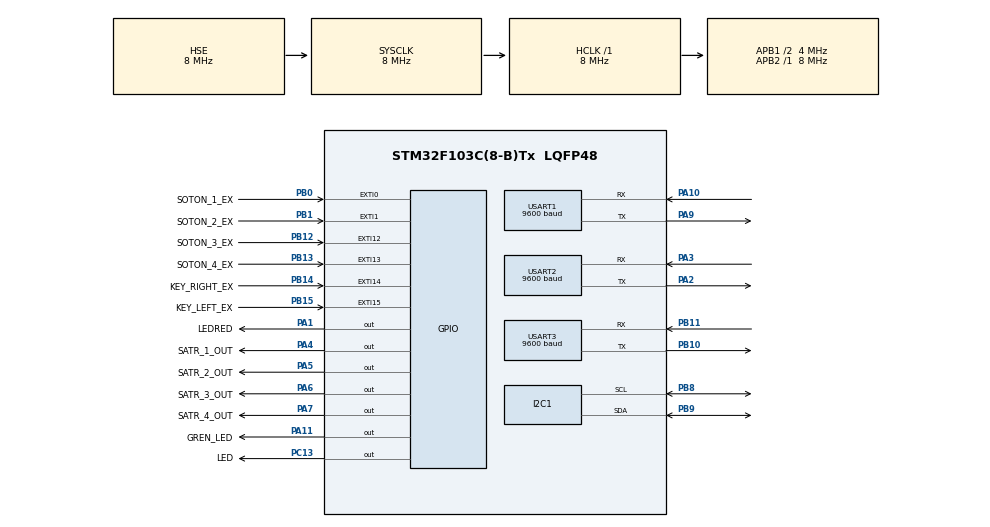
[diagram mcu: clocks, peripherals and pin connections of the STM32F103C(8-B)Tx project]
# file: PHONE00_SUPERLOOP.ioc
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Mcu.Family=STM32F1
Mcu.Name=STM32F103C(8-B)Tx
Mcu.Package=LQFP48
NVIC.EXTI0_IRQn=true\:1\:0\:true\:false\:true\:true\:true\:true
NVIC.EXTI15_10_IRQn=true\:1\:0\:true\:false\:true\:true\:true\:true
NVIC.EXTI1_IRQn=true\:1\:0\:true\:false\:true\:true\:true\:true
NVIC.PriorityGroup=NVIC_PRIORITYGROUP_4
NVIC.TIM1_UP_IRQn=true\:2\:0\:true\:false\:true\:true\:true\:true
NVIC.TIM2_IRQn=true\:2\:0\:true\:false\:true\:true\:true\:true
NVIC.TIM3_IRQn=true\:2\:0\:true\:false\:true\:true\:true\:true
NVIC.TIM4_IRQn=true\:2\:0\:true\:false\:true\:true\:true\:true
NVIC.USART1_IRQn=true\:0\:0\:false\:false\:true\:true\:true\:true
PA1.GPIO_Label=LEDRED
PA1.Signal=GPIO_Output
PA10.Mode=Asynchronous
PA10.Signal=USART1_RX
PA11.GPIO_Label=GREN_LED
PA11.GPIO_PuPd=GPIO_PULLUP
PA11.Signal=GPIO_Output
PA13.Mode=Serial_Wire
PA13.Signal=SYS_JTMS-SWDIO
PA14.Mode=Serial_Wire
PA14.Signal=SYS_JTCK-SWCLK
PA2.Mode=Asynchronous
PA2.Signal=USART2_TX
PA3.Mode=Asynchronous
PA3.Signal=USART2_RX
PA4.GPIO_Label=SATR_1_OUT
PA4.Signal=GPIO_Output
PA5.GPIO_Label=SATR_2_OUT
PA5.Signal=GPIO_Output
PA6.GPIO_Label=SATR_3_OUT
PA6.Signal=GPIO_Output
PA7.GPIO_Label=SATR_4_OUT
PA7.Signal=GPIO_Output
PA9.Mode=Asynchronous
PA9.Signal=USART1_TX
PB0.GPIO_Label=SOTON_1_EX
PB0.GPIO_ModeDefaultEXTI=GPIO_MODE_IT_RISING_FALLING
PB0.GPIO_PuPd=GPIO_PULLDOWN
PB0.Signal=GPXTI0
PB1.GPIO_Label=SOTON_2_EX
PB1.GPIO_ModeDefaultEXTI=GPIO_MODE_IT_RISING_FALLING
PB1.GPIO_PuPd=GPIO_PULLDOWN
PB1.Signal=GPXTI1
PB10.Mode=Asynchronous
PB10.Signal=USART3_TX
PB11.Mode=Asynchronous
PB11.Signal=USART3_RX
PB12.GPIO_Label=SOTON_3_EX
PB12.GPIO_ModeDefaultEXTI=GPIO_MODE_IT_RISING_FALLING
PB12.GPIO_PuPd=GPIO_PULLDOWN
PB12.Signal=GPXTI12
PB13.GPIO_Label=SOTON_4_EX
PB13.GPIO_ModeDefaultEXTI=GPIO_MODE_IT_RISING_FALLING
PB13.GPIO_PuPd=GPIO_PULLDOWN
PB13.Signal=GPXTI13
PB14.GPIO_Label=KEY_RIGHT_EX
PB14.GPIO_ModeDefaultEXTI=GPIO_MODE_IT_RISING
PB14.GPIO_PuPd=GPIO_PULLUP
PB14.Signal=GPXTI14
PB15.GPIO_Label=KEY_LEFT_EX
PB15.GPIO_ModeDefaultEXTI=GPIO_MODE_IT_RISING
PB15.GPIO_PuPd=GPIO_PULLUP
PB15.Signal=GPXTI15
PB8.Mode=I2C
PB8.Signal=I2C1_SCL
PB9.Mode=I2C
PB9.Signal=I2C1_SDA
PC13-TAMPER-RTC.GPIO_Label=LED
PC13-TAMPER-RTC.Signal=GPIO_Output
PC14-OSC32_IN.Mode=LSE-External-Oscillator
PC14-OSC32_IN.Signal=RCC_OSC32_IN
PC15-OSC32_OUT.Mode=LSE-External-Oscillator
PC15-OSC32_OUT.Signal=RCC_OSC32_OUT
PD0-OSC_IN.Mode=HSE-External-Oscillator
PD0-OSC_IN.Signal=RCC_OSC_IN
PD1-OSC_OUT.Mode=HSE-External-Oscillator
PD1-OSC_OUT.Signal=RCC_OSC_OUT
ProjectManager.HeapSize=0x200
ProjectManager.StackSize=0x400
ProjectManager.TargetToolchain=MDK-ARM V5
RCC.AHBFreq_Value=8000000
RCC.APB1CLKDivider=RCC_HCLK_DIV2
RCC.APB1Freq_Value=4000000
RCC.APB1TimFreq_Value=8000000
RCC.APB2Freq_Value=8000000
RCC.APB2TimFreq_Value=8000000
RCC.HCLKFreq_Value=8000000
RCC.PLLMUL=RCC_PLL_MUL6
RCC.RTCClockSelection=RCC_RTCCLKSOURCE_LSE
RCC.SYSCLKFreq_VALUE=8000000
RCC.SYSCLKSource=RCC_SYSCLKSOURCE_HSE
RCC.USBFreq_Value=24000000
TIM1.Period=499
TIM1.Prescaler=7999
TIM2.Period=19
TIM2.Prescaler=7999
TIM3.Period=10
TIM3.Prescaler=7999
TIM4.Period=500
TIM4.Prescaler=7999
USART1.BaudRate=9600
USART1.VirtualMode=VM_ASYNC
USART2.BaudRate=9600
USART2.VirtualMode=VM_ASYNC
USART3.BaudRate=9600
USART3.VirtualMode=VM_ASYNC
VP_TIM1_VS_ClockSourceINT.Mode=Internal
VP_TIM2_VS_ClockSourceINT.Mode=Internal
VP_TIM3_VS_ClockSourceINT.Mode=Internal
VP_TIM4_VS_ClockSourceINT.Mode=Internal
board=custom

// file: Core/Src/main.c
/* USER CODE BEGIN Header */
/**
  ******************************************************************************
  * @file           : main.c
  * @brief          : Main program body
  ******************************************************************************
  * @attention
  *
  * Copyright (c) 2023 STMicroelectronics.
  * All rights reserved.
  *
  * This software is licensed under terms that can be found in the LICENSE file
  * in the root directory of this software component.
  * If no LICENSE file comes with this software, it is provided AS-IS.
  *
  ******************************************************************************
  */
/* USER CODE END Header */
#include "main.h"
#include "i2c.h"
#include "tim.h"
#include "usart.h"
#include "gpio.h"

/* USER CODE BEGIN Includes */
#include "stdbool.h"
#include "string.h"
#include "stdlib.h"
#include "ssd1306.h"
#include "stdio.h"
#include "clk.h"
#include "painter.h"
#include "keypad_satr.h"
#include "snake.h"
#include "timer.h"
#include "calender.h"
#include "call.h"
/* USER CODE END Includes */

/* USER CODE BEGIN PD */
#define max_tol_mar 111
#define x_avali 0
#define y_avali 8
#define tedad_avali 1
#define n 0

#define LEDRED_OFF HAL_GPIO_WritePin(GPIOA,LEDRED_Pin,GPIO_PIN_RESET);
#define LEDRED_ON HAL_GPIO_WritePin(GPIOA,LEDRED_Pin,GPIO_PIN_SET);

#define PREVIEW_L 0
#define MENU_L 1
#define SNAKE_L 2
#define MENU_TIM_L 3
#define TIME_L 4
#define MENU_CALENDER_L 5
#define CALENDER_L 6
#define MENU_CALL_L 7
#define CALL_L 8
#define RING 9
#define SMS_L 10
#define F_SMS_L 11
#define NOTE_SMS_L 12
#define MY_RING_L 13
#define R_SMS_L 14
/* USER CODE END PD */

/* USER CODE BEGIN PV */
struct sms_r{
	uint8_t mohtava_counter;
	char number[11];
	char tarikh[8];
	char mohtava[10];
	char time[5];
};struct sms_r RING_SMS={0};
struct sm{
	uint8_t i;
	char elhaq[21];
	char sarehambandi[13];
	char CBUFF;
	uint8_t arr[10];
	char BUFF [11];
};struct sm SMSS={0,"AT+CMGS=","\""};
struct Urt{
	uint8_t counter;
	uint8_t cntlz;
	uint8_t enter;
	char CHAR_BUFF;
	char BUFF[200];
};struct Urt UART={0,0x1a,0x0d};
struct cal{
	uint8_t i;
	char elhaq[15];
	char sarehambandi;
	char CBUFF;
	int arr[10];
	char BUFF [10];
	};struct cal CAL={0,"ATD",';'};
struct date{
	uint8_t mounth;
	uint8_t day;
	int year;
	uint8_t weekday;
};struct date DATE = {12,30,2000,1};

struct keypad{
	uint8_t Satr_Peyma;
	uint8_t adad;
	bool SOTON_1_ON;
	bool SOTON_2_ON;
	bool SOTON_3_ON;
	bool SOTON_4_ON;
	bool CHANGE_SATR_ALLOW;
	uint8_t negahdari_shomar;
	char namayesh;
	uint8_t set_x;
	uint8_t set_y;
	int counter[10];
	char negahdari[60];
};struct keypad key_pad = {1,0,false,false,false,false,true,0,NULL,0,20};

struct flag {
	bool nimsec;
	bool nimsec2;
	bool shishnimsec;
	bool ring;
	bool keypad_tim;
	bool m;
	bool sabt;
	bool allow_namayesh;
	bool test_bar1;
};struct flag flg = {false,false,false,false,false,false,false,false,true};

struct CURRENT_TIM {
	uint16_t SECEND;
	uint16_t MIN;
	uint16_t HOUR;
};struct CURRENT_TIM CURRENT_TIME = {50,59,23};

struct ED_TIM {
	uint8_t HOUR1;
	uint8_t HOUR2;
	uint8_t MIN1;
	uint8_t MIN2;
	uint8_t SEC1;
	uint8_t SEC2;
	uint8_t RESULTHOUR;
	uint8_t RESULTMIN;
	uint8_t RESULTSEC;
	uint8_t M;
	uint8_t ALOOWCHANGE;
	bool ALARMMODE;
};struct ED_TIM EDIT_TIME ={0,0,0,0,0,0,0,0,0,false} ;
struct ALAR {
	uint8_t ALARMHOUR;
	uint8_t ALARMMIN;
	uint8_t ALARMSEC;
};struct ALAR ALARM = {26,0,0};
// SNAKE //
int tedad=n;
uint8_t eep_cntr=10;
char score=0;
char buf ;
struct randomm{
	uint8_t x;
	uint8_t y;
}random;

struct flag2 {
	int state;
	int step;
	uint8_t rec_snake_app;
	int dly;
	uint8_t jahat;
	uint8_t gameover;
};struct flag2 flg2 ={0,0,0,1000,0,0}; //ESM FLG AVAZ SHOD
struct makanm {
	int x;
	int y;
}makan[max_tol_mar];

struct jayeize{
	int x;
	int y;
};struct jayeize makan_qarch_jadid = {0,8};
struct jayeize_fli{
	int x;
	int y;
};struct jayeize makan_qarch_feli = {0,0};
/* USER CODE END PV */

void SystemClock_Config(void);
/* USER CODE BEGIN PFP */
void PREVIEW (void);
void MENU (void);
void SNAKE (void);
void MENU1 (void);
void TIME (void);
void MENU2 (void);
void CALENDER (void);
void MENU3(void);
void CALL (void);
void FRING (void);
void IRING (void);
void menu4 (void);
void sms_ersal(char *bufer);
void sms (void);
void note_sms(void);
void my_ring(void);
void r_sms(void);
/* USER CODE END PFP */

/* USER CODE BEGIN 0 */
uint16_t leyer = 0;
int timer_shomar = 0;
///////////////////////////
//////// INTRUPT /////////
//////////////////////////
void HAL_TIM_PeriodElapsedCallback(TIM_HandleTypeDef *htim){
	if(htim->Instance == TIM2){
		makan_qarch_jadid.y+=8;
		if(makan_qarch_jadid.y>=53){
			makan_qarch_jadid.y = 0;
		}
	}

	if(htim->Instance == TIM1){
		flg.nimsec = true;
		flg.nimsec2 = true;
		flg.keypad_tim = true;
		if(timer_shomar == 1){
			timer_shomar = 0;
		}
		else if(timer_shomar == 0){
			timer_shomar = 1;
			if(CURRENT_TIME.SECEND == 59){
			CURRENT_TIME.SECEND = 0;
			CURRENT_TIME.MIN ++;
		}else{
			CURRENT_TIME.SECEND++;
		}
		if(CURRENT_TIME.MIN == 60){
			CURRENT_TIME.MIN = 0;
			CURRENT_TIME.HOUR ++;
		}
		if(CURRENT_TIME.HOUR == 24){
			CURRENT_TIME.HOUR = 0;
			DATE.day++;
		}
		if(DATE.day == 31){
			DATE.day = 1;
			DATE.mounth++;
			DATE.weekday++;
		}
		if(DATE.mounth ==13){
			DATE.mounth=1;
			DATE.year++;
		}
		}
	}
	if(htim->Instance == TIM3){
		makan_qarch_jadid.x+=6;
		if(makan_qarch_jadid.x>=121){
			makan_qarch_jadid.x = 0;
		}
		if(key_pad.CHANGE_SATR_ALLOW){
			if(key_pad.Satr_Peyma == 1){
			}else{
			}
			if(key_pad.Satr_Peyma >= 5){
				key_pad.Satr_Peyma =1;
			}else{
				key_pad.Satr_Peyma++;
		}
	}
}
	if(htim->Instance == TIM4){
		flg.sabt = true;
	}
}

void HAL_GPIO_EXTI_Callback(uint16_t GPIO_Pin){
	if(GPIO_Pin == KEY_RIGHT_EX_Pin || GPIO_Pin == KEY_LEFT_EX_Pin){
		if(GPIO_Pin == KEY_RIGHT_EX_Pin){
			if(leyer == PREVIEW_L){
				leyer = MENU_L;
			}
			else if(leyer == MENU_L){
				leyer = MENU_TIM_L;
			}
			else if(leyer == MENU_TIM_L){
				leyer = MENU_CALENDER_L;
			}
			else if(leyer == MENU_CALENDER_L){
				leyer = MENU_CALL_L;
			}
			else if(leyer == MENU_CALL_L){
				leyer = SMS_L;
			}
		}
		if(GPIO_Pin == KEY_LEFT_EX_Pin){
			if(leyer == MENU_L){
				leyer = PREVIEW_L;
			}
			else if(leyer == PREVIEW_L){
				leyer = CALL_L;
			}
			else if(leyer == SNAKE_L){
			leyer = MENU_L;
			}
			else if(leyer == MENU_TIM_L){
				leyer = MENU_L;
			}
			else if(leyer == TIME_L){
				leyer = MENU_L;
				key_pad.adad = 16;
			}
			else if(leyer == MENU_CALENDER_L){
				leyer = MENU_L;
			}
			else if(leyer == CALENDER_L){
				leyer = MENU_L;
			}
			else if(leyer == MENU_CALL_L){
				leyer = MENU_L;
			}
			else if(leyer == CALL_L){
				leyer = MENU_L;
			}
			else if(leyer == RING){
				leyer = MENU_L;
			}
			else if(leyer == SMS_L){
				leyer = MENU_L;
			}
			else if(leyer == F_SMS_L){
				leyer = MENU_L;
			}
			else if(leyer == NOTE_SMS_L){
				leyer = SMS_L;
			}
			else if(leyer == R_SMS_L){
				leyer = MENU_L;
				if(flg.test_bar1){
					flg.test_bar1 = false;
					memset(RING_SMS.mohtava,0,sizeof(RING_SMS.mohtava));
					memset(RING_SMS.number,0,sizeof(RING_SMS.number));
					memset(RING_SMS.tarikh,0,sizeof(RING_SMS.tarikh));
					memset(RING_SMS.time,0,sizeof(RING_SMS.time));

				}
			}
		}
}else{
	if(GPIO_Pin == SOTON_1_EX_Pin){
		if(HAL_GPIO_ReadPin(GPIOB,SOTON_1_EX_Pin)){
			key_pad.CHANGE_SATR_ALLOW = false;
			if(key_pad.Satr_Peyma == 1){
				key_pad.adad = 1;
				flg.m = true;
			}
			else if(key_pad.Satr_Peyma == 2){
				key_pad.adad = 4;
				flg2.state = 4;
				flg.m = true;
			}
			else if(key_pad.Satr_Peyma == 3){
				key_pad.adad = 7;
				flg.m = true;
			}
			else if(key_pad.Satr_Peyma == 4){
				key_pad.adad = 10;
				flg.m = true;
			}
		}else
			key_pad.CHANGE_SATR_ALLOW = true;
	}

	else if(GPIO_Pin == SOTON_2_EX_Pin){
			if(HAL_GPIO_ReadPin(GPIOB,SOTON_2_EX_Pin)){
			key_pad.CHANGE_SATR_ALLOW = false;
			if(key_pad.Satr_Peyma == 1){
				key_pad.adad = 2;
				flg2.state = 2;
				flg.m = true;
				}
			else if(key_pad.Satr_Peyma == 2){
				key_pad.adad = 5;
				flg.m = true;
			}
			else if(key_pad.Satr_Peyma == 3){
				key_pad.adad = 8;
				flg2.state = 3;
				flg.m = true;
			}
			else if(key_pad.Satr_Peyma == 4){
				key_pad.adad = 0;
				flg.m = true;
			}
		}else
			key_pad.CHANGE_SATR_ALLOW = true;

	}

	else if(GPIO_Pin == SOTON_3_EX_Pin){
			if(HAL_GPIO_ReadPin(GPIOB,SOTON_3_EX_Pin)){
			key_pad.CHANGE_SATR_ALLOW = false;
			if(key_pad.Satr_Peyma == 1){
				key_pad.adad = 3;
				flg.m = true;
			}
			else if(key_pad.Satr_Peyma == 2){
				key_pad.adad = 6;
				flg2.state = 1;
				flg.m = true;
			}
			else if(key_pad.Satr_Peyma == 3){
				key_pad.adad = 9;
				flg.m = true;
			}
			else if(key_pad.Satr_Peyma == 4){
				key_pad.adad = 11;
				flg.m = true;
			}
		}else
			key_pad.CHANGE_SATR_ALLOW = true;

	}

	else if(GPIO_Pin == SOTON_4_EX_Pin){
		if(HAL_GPIO_ReadPin(GPIOB,SOTON_4_EX_Pin)){
			key_pad.CHANGE_SATR_ALLOW = false;
			if(key_pad.Satr_Peyma == 1)
				key_pad.adad = 12;
			else if(key_pad.Satr_Peyma == 2)
				key_pad.adad = 13;
			else if(key_pad.Satr_Peyma == 3)
				key_pad.adad = 14;
			else if(key_pad.Satr_Peyma == 4){
				key_pad.adad = 15;
				LEDRED_OFF
			}
		}else
			key_pad.CHANGE_SATR_ALLOW = true;
	}

}
}
void HAL_UART_RxCpltCallback (UART_HandleTypeDef *huart){
	//HAL_UART_Transmit(&huart1,(uint8_t *)&UART.CHAR_BUFF,sizeof(UART.CHAR_BUFF),100);
	if(huart->Instance == USART1){
		flg.ring = true;
		UART.BUFF[UART.counter] = UART.CHAR_BUFF;
		UART.counter++;
		if(UART.counter > 200){
			UART.counter = 0;
			memset(UART.BUFF,0,sizeof(UART.BUFF));
		}

}
	HAL_UART_Receive_IT(&huart1,(uint8_t *)&UART.CHAR_BUFF,sizeof(UART.CHAR_BUFF));
}
/* USER CODE END 0 */

int main(void)
{

  /* MCU Configuration--------------------------------------------------------*/

  /* Reset of all peripherals, Initializes the Flash interface and the Systick. */
  HAL_Init();

  /* Configure the system clock */
  SystemClock_Config();

  /* Initialize all configured peripherals */
  MX_GPIO_Init();
  MX_I2C1_Init();
  MX_TIM1_Init();
  MX_USART1_UART_Init();
  MX_USART2_UART_Init();
  MX_USART3_UART_Init();
  MX_TIM2_Init();
  MX_TIM3_Init();
  MX_TIM4_Init();

  /* Infinite loop */
  /* USER CODE BEGIN WHILE */
	HAL_TIM_Base_Start_IT(&htim1);
	HAL_TIM_Base_Start_IT(&htim2);
	HAL_TIM_Base_Start_IT(&htim3);

	HAL_TIM_Base_Start_IT(&htim4);

	HAL_GPIO_WritePin(GREN_LED_GPIO_Port,GREN_LED_Pin,GPIO_PIN_SET);
	ssd1306_Init();
	OffKeyPad();
	HAL_UART_Receive_IT(&huart1,(uint8_t *)&UART.CHAR_BUFF,sizeof(UART.CHAR_BUFF));
	HAL_Delay(5);
	HAL_UART_Transmit(&huart1,(unsigned char*)&("AT"),2,800);
	HAL_UART_Transmit(&huart1,(uint8_t*)&(UART.enter),1,800);
	HAL_Delay(50);
	HAL_UART_Transmit(&huart1,(uint8_t *)&"AT+CMGF=1",9,100);
	HAL_UART_Transmit(&huart1,(uint8_t*)&(UART.enter),1,800);
	HAL_Delay(50);
	HAL_UART_Transmit(&huart1,(unsigned char*)&"AT+CNMI=1,2,0,0,0",17,100);
	HAL_UART_Transmit(&huart1,(uint8_t*)&(UART.enter),1,800);
	HAL_Delay(50);
	//sms_ersal("\"09382035121\"");
  while (1)
  {
		// KEYPAD
		keypad_refresh(key_pad.Satr_Peyma);
		//INTRUPT RING
		if(flg.ring == true){
			IRING();
		}
		// PREVIEW
		if(leyer == PREVIEW_L){
			PREVIEW();
		}
		// MENU
		else if(leyer == MENU_L){
			MENU();
		}
		//SNAKE
		else if(leyer == SNAKE_L){
			SNAKE();
		}
		//MENU_TIM
		else if(leyer == MENU_TIM_L){
			MENU1();
		}
		//TIME
		else if(leyer == TIME_L){
			TIME();
		}
		//MENU_CALENDER
		else if(leyer == MENU_CALENDER_L){
			MENU2();
		}
		//CALENDER
		else if(leyer == CALENDER_L){
			CALENDER();
		}
		//MENU CALL
		else if(leyer == MENU_CALL_L){
			MENU3();
		}
		//CALL
		else if(leyer == CALL_L){
			CALL();
		}
		//RING
		else if(leyer == RING){
			FRING();
		}

		//MENU SMS
		else if(leyer == SMS_L){
			menu4();
		}
		//enter number sms
		else if(leyer == F_SMS_L){
			sms();
		}
		else if(leyer == NOTE_SMS_L){
			note_sms();
		}
		else if(leyer == MY_RING_L){
			my_ring();
		}
		else if(leyer == R_SMS_L){
			r_sms();
		}
    /* USER CODE END WHILE */

  }
}

void SystemClock_Config(void)
{
  RCC_OscInitTypeDef RCC_OscInitStruct = {0};
  RCC_ClkInitTypeDef RCC_ClkInitStruct = {0};

  /** Initializes the RCC Oscillators according to the specified parameters
  * in the RCC_OscInitTypeDef structure.
  */
  RCC_OscInitStruct.OscillatorType = RCC_OSCILLATORTYPE_HSE;
  RCC_OscInitStruct.HSEState = RCC_HSE_ON;
  RCC_OscInitStruct.PLL.PLLState = RCC_PLL_NONE;
  if (HAL_RCC_OscConfig(&RCC_OscInitStruct) != HAL_OK)
  {
    Error_Handler();
  }

  /** Initializes the CPU, AHB and APB buses clocks
  */
  RCC_ClkInitStruct.ClockType = RCC_CLOCKTYPE_HCLK|RCC_CLOCKTYPE_SYSCLK
                              |RCC_CLOCKTYPE_PCLK1|RCC_CLOCKTYPE_PCLK2;
  RCC_ClkInitStruct.SYSCLKSource = RCC_SYSCLKSOURCE_HSE;
  RCC_ClkInitStruct.AHBCLKDivider = RCC_SYSCLK_DIV1;
  RCC_ClkInitStruct.APB1CLKDivider = RCC_HCLK_DIV2;
  RCC_ClkInitStruct.APB2CLKDivider = RCC_HCLK_DIV1;

  if (HAL_RCC_ClockConfig(&RCC_ClkInitStruct, FLASH_LATENCY_0) != HAL_OK)
  {
    Error_Handler();
  }
}

/* USER CODE BEGIN 4 */
void CALL (void){
	if(flg.nimsec)
	{
		flg.nimsec = false;
		ssd1306_Fill(Black);
		clk_menu(CURRENT_TIME.MIN,CURRENT_TIME.HOUR,CURRENT_TIME.SECEND,ALARM.ALARMHOUR,ALARM.ALARMMIN,ALARM.ALARMSEC);
		painter__(0,50,"M",Font_6x8);
		painter__(0,20,"ENTER THE NUMBER",Font_6x8);
		if(key_pad.adad <= 9 && CAL.i<=10){
			CAL.CBUFF = yabesh(key_pad.adad,CAL.i);
			CAL.BUFF[CAL.i] = CAL.CBUFF;
			CAL.i++;
			key_pad.adad = 16;
		}
		else if(key_pad.adad == 11){
			CAL.i = 0;
		for(int i=0;i<=10;i++){
			CAL.BUFF[i] = 0;
		}
			key_pad.adad = 16;
		}
		else if(key_pad.adad == 15){
			CAL.BUFF[CAL.i-1]=0;
			CAL.i--;
			key_pad.adad = 16;
		}
		if(key_pad.adad == 10 && CAL.i == 11){
			//HAL_GPIO_TogglePin(GPIOC,GPIO_PIN_13);
			key_pad.adad =16;
			strcat(CAL.elhaq,CAL.BUFF);
			CAL.elhaq [14] = ';';
			HAL_Delay(50);
			HAL_UART_Transmit(&huart1,(uint8_t *)&(CAL.elhaq),15,100);
			HAL_Delay(50);
			HAL_UART_Transmit(&huart1,(uint8_t*)&(UART.enter),1,800);
			leyer = MY_RING_L;
		}
		painter__(0,35,CAL.BUFF,Font_6x8);

		ssd1306_UpdateScreen();
	}
}
void MENU3(void){
	if(flg.nimsec)
	{
		flg.nimsec = false;
		ssd1306_Fill(Black);
		clk_menu(CURRENT_TIME.MIN,CURRENT_TIME.HOUR,CURRENT_TIME.SECEND,ALARM.ALARMHOUR,ALARM.ALARMMIN,ALARM.ALARMSEC);
		painter__(0,50,"M",Font_6x8);
		painter__(120,50,"N",Font_6x8);
		painter__(40,20,"CALL",Font_11x18);
		ssd1306_UpdateScreen();
		if(key_pad.adad == 10){
			leyer = CALL_L;
			key_pad.adad = 16;
		}

	}
}
void CALENDER (void){
	if(flg.nimsec){
		flg.nimsec = false;
		ssd1306_Fill(Black);
		clk_menu(CURRENT_TIME.MIN,CURRENT_TIME.HOUR,CURRENT_TIME.SECEND,ALARM.ALARMHOUR,ALARM.ALARMMIN,ALARM.ALARMSEC);
		namayesh(DATE.day,DATE.mounth,DATE.year,DATE.weekday);
		ssd1306_UpdateScreen();
	}
}
void MENU2 (void){
	if(flg.nimsec)
	{
		flg.nimsec = false;
		ssd1306_Fill(Black);
		clk_menu(CURRENT_TIME.MIN,CURRENT_TIME.HOUR,CURRENT_TIME.SECEND,ALARM.ALARMHOUR,ALARM.ALARMMIN,ALARM.ALARMSEC);
		painter__(0,50,"M",Font_6x8);
		painter__(120,50,"N",Font_6x8);
		painter__(20,20,"CALENDER",Font_11x18);
		ssd1306_UpdateScreen();
		if(key_pad.adad == 10){
			leyer = CALENDER_L;
			key_pad.adad = 16;
		}

	}
}
void PREVIEW (void){
	if(flg.nimsec){
				flg.nimsec = false;
				ssd1306_Fill(Black);
				clk_preveiw(CURRENT_TIME.MIN,CURRENT_TIME.HOUR,CURRENT_TIME.SECEND,ALARM.ALARMHOUR,ALARM.ALARMMIN,ALARM.ALARMSEC);
				painter__(0,50,"C",Font_6x8);
				painter__(120,50,"M",Font_6x8);
				ssd1306_UpdateScreen();
	}
}

void MENU (void){
	if(flg.nimsec){
				flg.nimsec = false;
				if(key_pad.adad != 10){
					ssd1306_Fill(Black);
					clk_menu(CURRENT_TIME.MIN,CURRENT_TIME.HOUR,CURRENT_TIME.SECEND,ALARM.ALARMHOUR,ALARM.ALARMMIN,ALARM.ALARMSEC);
					painter__(0,50,"H",Font_6x8);
					painter__(30,20,"Snake",Font_11x18);
					painter__(120,50,"N",Font_6x8);
					ssd1306_UpdateScreen();
				}else{
					key_pad.adad = 16;
					leyer = SNAKE_L;
		}
}
}

void MENU1 (void){
	if(flg.nimsec){
				flg.nimsec = false;
				if(key_pad.adad != 10){
					ssd1306_Fill(Black);
					clk_menu(CURRENT_TIME.MIN,CURRENT_TIME.HOUR,CURRENT_TIME.SECEND,ALARM.ALARMHOUR,ALARM.ALARMMIN,ALARM.ALARMSEC);
					painter__(0,50,"H",Font_6x8);
					painter__(30,20,"TIME",Font_11x18);
					painter__(120,50,"N",Font_6x8);
					ssd1306_UpdateScreen();
				}else{
					key_pad.adad = 16;
					leyer = TIME_L;
		}
}
}
void TIME (void){
	if(flg.nimsec){
		flg.nimsec = false;
		if(key_pad.adad == 12){
			EDIT_TIME.ALOOWCHANGE =1; // HOUR ALLOW
			key_pad.adad = 16;
		}
		else if(key_pad.adad == 13){
			EDIT_TIME.ALOOWCHANGE =2; // MIN ALLOW
			key_pad.adad = 16;
		}
		else if(key_pad.adad == 14){
			EDIT_TIME.ALOOWCHANGE =3; // SEC ALLOW
			key_pad.adad = 16;
		}
		else if(key_pad.adad == 15){
			EDIT_TIME.ALARMMODE = true; // ALARM ALLOW
			key_pad.adad = 16;
			//painter__(0,0,"F4 ALRAM",Font_6x8);
			EDIT_TIME.ALOOWCHANGE =1;
			//LEDRED_ON
		}
	ssd1306_Fill(Black);
	pishzamine(CURRENT_TIME.MIN,CURRENT_TIME.HOUR,CURRENT_TIME.SECEND,ALARM.ALARMHOUR,ALARM.ALARMMIN,ALARM.ALARMSEC);
	clk_edit(EDIT_TIME.RESULTMIN,EDIT_TIME.RESULTHOUR,EDIT_TIME.RESULTSEC);
	if(EDIT_TIME.ALOOWCHANGE == 0){
		painter__(80,20,"F1 HOUR",Font_6x8);
		painter__(80,30,"F2 MIN",Font_6x8);
		painter__(80,40,"F3 SEC",Font_6x8);
		painter__(75,9,"F4 ALRAM",Font_6x8); //ESHTEBAH TYPEI
	}
	if(EDIT_TIME.ALOOWCHANGE == 1){
		painter__(0,40,"HOUR",Font_6x8);
		if(key_pad.adad<=9 && EDIT_TIME.M == 0){
			EDIT_TIME.HOUR1 = key_pad.adad;
			key_pad.adad = 16;
			EDIT_TIME.M = 1;
		}
		else if(key_pad.adad<=9 && EDIT_TIME.M == 1){
			EDIT_TIME.HOUR2 = key_pad.adad;
			key_pad.adad = 16;
			EDIT_TIME.M = 0;
		}
		EDIT_TIME.RESULTHOUR = 10*EDIT_TIME.HOUR1 + EDIT_TIME.HOUR2;

		if(EDIT_TIME.RESULTHOUR<=23)
		clk_edit(EDIT_TIME.RESULTMIN,EDIT_TIME.RESULTHOUR,EDIT_TIME.RESULTSEC);
		else {
			EDIT_TIME.HOUR1 = 0;
			EDIT_TIME.HOUR2 = 0;
		}
			if(key_pad.adad == 10){
				if(!EDIT_TIME.ALARMMODE){
					CURRENT_TIME.HOUR = EDIT_TIME.RESULTHOUR;
					CURRENT_TIME.MIN = EDIT_TIME.RESULTMIN;
					CURRENT_TIME.SECEND = EDIT_TIME.RESULTSEC;
				}
				if(EDIT_TIME.ALARMMODE){
					ALARM.ALARMHOUR = EDIT_TIME.RESULTHOUR;
					ALARM.ALARMMIN = EDIT_TIME.RESULTMIN;
					ALARM.ALARMSEC = EDIT_TIME.RESULTSEC;
					EDIT_TIME.ALARMMODE = false;
				}
				EDIT_TIME.HOUR1 = 0;
				EDIT_TIME.HOUR2 = 0;
				EDIT_TIME.MIN1 = 0;
				EDIT_TIME.MIN2 = 0;
				EDIT_TIME.SEC1 = 0;
				EDIT_TIME.SEC2 = 0;
				EDIT_TIME.HOUR1 = 0;
				EDIT_TIME.ALOOWCHANGE = 0;
				EDIT_TIME.M = 0;

			}
			else if(key_pad.adad == 11){
				EDIT_TIME.HOUR1 = 0;
				EDIT_TIME.HOUR2 = 0;
			}
		key_pad.adad = 16;
		}

		if(EDIT_TIME.ALOOWCHANGE == 2){
			painter__(0,40,"MIN",Font_6x8);
		if(key_pad.adad<=9 && EDIT_TIME.M == 0){
			EDIT_TIME.MIN1 = key_pad.adad;
			key_pad.adad = 16;
			EDIT_TIME.M = 1;
		}
		else if(key_pad.adad<=9 && EDIT_TIME.M == 1){
			EDIT_TIME.MIN2 = key_pad.adad;
			key_pad.adad = 16;
			EDIT_TIME.M = 0;
		}
		EDIT_TIME.RESULTMIN = 10*EDIT_TIME.MIN1 + EDIT_TIME.MIN2;

		if(EDIT_TIME.RESULTMIN<=59)
		clk_edit(EDIT_TIME.RESULTMIN,EDIT_TIME.RESULTHOUR,EDIT_TIME.RESULTSEC);
		else {
			EDIT_TIME.MIN1 = 0;
			EDIT_TIME.MIN2 = 0;
		}
			if(key_pad.adad == 10){
				if(!EDIT_TIME.ALARMMODE){
					CURRENT_TIME.HOUR = EDIT_TIME.RESULTHOUR;
					CURRENT_TIME.MIN = EDIT_TIME.RESULTMIN;
					CURRENT_TIME.SECEND = EDIT_TIME.RESULTSEC;
				}
				if(EDIT_TIME.ALARMMODE){
					ALARM.ALARMHOUR = EDIT_TIME.RESULTHOUR;
					ALARM.ALARMMIN = EDIT_TIME.RESULTMIN;
					ALARM.ALARMSEC = EDIT_TIME.RESULTSEC;
					EDIT_TIME.ALARMMODE = false;
				}

				EDIT_TIME.HOUR1 = 0;
				EDIT_TIME.HOUR2 = 0;
				EDIT_TIME.MIN1 = 0;
				EDIT_TIME.MIN2 = 0;
				EDIT_TIME.SEC1 = 0;
				EDIT_TIME.SEC2 = 0;
				EDIT_TIME.HOUR1 = 0;
				EDIT_TIME.ALOOWCHANGE = 0;
				EDIT_TIME.M = 0;
			}
			else if(key_pad.adad == 11){
				EDIT_TIME.MIN1 = 0;
				EDIT_TIME.MIN2 = 0;
			}
		key_pad.adad = 16;
		}

		if(EDIT_TIME.ALOOWCHANGE == 3){
			painter__(0,40,"SEC",Font_6x8);
		if(key_pad.adad<=9 && EDIT_TIME.M == 0){
			EDIT_TIME.SEC1 = key_pad.adad;
			key_pad.adad = 16;
			EDIT_TIME.M = 1;
		}
		else if(key_pad.adad<=9 && EDIT_TIME.M == 1){
			EDIT_TIME.SEC2 = key_pad.adad;
			key_pad.adad = 16;
			EDIT_TIME.M = 0;
		}
		EDIT_TIME.RESULTSEC = 10*EDIT_TIME.SEC1 + EDIT_TIME.SEC2;

		if(EDIT_TIME.RESULTSEC<=59)
		clk_edit(EDIT_TIME.RESULTMIN,EDIT_TIME.RESULTHOUR,EDIT_TIME.RESULTSEC);
		else {
			EDIT_TIME.SEC1 = 0;
			EDIT_TIME.SEC2 = 0;
		}
			if(key_pad.adad == 10){
				if(!EDIT_TIME.ALARMMODE){
					CURRENT_TIME.HOUR = EDIT_TIME.RESULTHOUR;
					CURRENT_TIME.MIN = EDIT_TIME.RESULTMIN;
					CURRENT_TIME.SECEND = EDIT_TIME.RESULTSEC;
				}
				if(EDIT_TIME.ALARMMODE){
					ALARM.ALARMHOUR = EDIT_TIME.RESULTHOUR;
					ALARM.ALARMMIN = EDIT_TIME.RESULTMIN;
					ALARM.ALARMSEC = EDIT_TIME.RESULTSEC;
					EDIT_TIME.ALARMMODE = false;
				}
				EDIT_TIME.HOUR1 = 0;
				EDIT_TIME.HOUR2 = 0;
				EDIT_TIME.MIN1 = 0;
				EDIT_TIME.MIN2 = 0;
				EDIT_TIME.SEC1 = 0;
				EDIT_TIME.SEC2 = 0;
				EDIT_TIME.HOUR1 = 0;
				EDIT_TIME.ALOOWCHANGE = 0;
				EDIT_TIME.M = 0;

			}
			else if(key_pad.adad == 11){
				EDIT_TIME.SEC1 = 0;
				EDIT_TIME.SEC2 = 0;
			}
		key_pad.adad = 16;
		}
		ssd1306_UpdateScreen();
}
}
void header(void){
	if(flg.nimsec2){
	flg.nimsec2=false;
	ssd1306_Fill(Black);
	if(flg2.state==1 || flg2.state==2 || flg2.state ==3 || flg2.state==4){
		for(int i=tedad;i>0;--i){
				makan[i].x=makan[i-1].x;
				makan[i].y=makan[i-1].y;
			}
		if (flg2.state==1){
			makan[0].x=makan[0].x+6;
			flg2.jahat=1;
		}
		if (flg2.state==2){
			makan[0].y=makan[0].y-8;
			flg2.jahat=2;
		}
		if (flg2.state==3){
			makan[0].y=makan[0].y+8;
			flg2.jahat=3;
		}
		if (flg2.state==4){
			makan[0].x=makan[0].x-6;
			flg2.jahat=4;
		}

		for(int i=1;i<=tedad;i++){
			if(makan[i].x == makan[0].x && makan[i].y == makan[0].y){
				gameover();
			}
		}
	}

		if(makan[0].x == makan_qarch_feli.x && makan[0].y == makan_qarch_feli.y){
			score++;
			random.x = makan_qarch_jadid.x;
			random.y = makan_qarch_jadid.y;
			for(int i=1;i<=tedad;i++){
				if(makan[i].x == random.x && makan[i].y == random.y){
					i=1;
					random.x = (rand()%20)*6;
					random.y = (rand()%6)*8;
				}
			}
			makan_qarch_feli.x = random.x;
			makan_qarch_feli.y = random.y;
			tedad ++;
		}
		clk_menu(CURRENT_TIME.MIN,CURRENT_TIME.HOUR,CURRENT_TIME.SECEND,ALARM.ALARMHOUR,ALARM.ALARMMIN,ALARM.ALARMSEC);
		painter__(0,50,"M",Font_6x8);
		for(int i=0;i<tedad;i++){
			ssd1306_SetCursor(makan[i].x,makan[i].y);
			ssd1306_WriteString(".",Font_6x8 ,White);
		}

		ssd1306_SetCursor(makan_qarch_feli.x,makan_qarch_feli.y);
		ssd1306_WriteString(".",Font_6x8,White);

		ssd1306_UpdateScreen();

		if(makan[0].x >119 || makan[0].x <0 || makan[0].y>53 || makan[0].y<0){
			gameover();
		}
}
	}
void SNAKE (void){
	if(flg2.step == 0){
		khoshamad();
	}
	if(flg2.step == 1){
		header();
	}
}
void khoshamad(void){
	if(flg.nimsec){
		key_pad.adad = 16;
		flg.nimsec = false;
		ssd1306_Fill(Black);
		flg2.state=0;
		ssd1306_SetCursor(0,20);
		ssd1306_WriteString("Prees Start",Font_11x18 ,White);
		painter__(0,50,"M",Font_6x8);
		clk_menu(CURRENT_TIME.MIN,CURRENT_TIME.HOUR,CURRENT_TIME.SECEND,ALARM.ALARMHOUR,ALARM.ALARMMIN,ALARM.ALARMSEC);
		ssd1306_UpdateScreen();
		if(key_pad.adad == 10){
				flg2.step =1;
		}

}
	}
void gameover(void){
	for(int i=0;i<=4;i++){

		ssd1306_Fill(Black);
		clk_menu(CURRENT_TIME.MIN,CURRENT_TIME.HOUR,CURRENT_TIME.SECEND,ALARM.ALARMHOUR,ALARM.ALARMMIN,ALARM.ALARMSEC);
		ssd1306_SetCursor(0,20);
		ssd1306_WriteString("Game Over",Font_6x8  ,White);

		buf = score/100 + '0';
		ssd1306_SetCursor(0,40);
		ssd1306_WriteString("Your Score",Font_6x8  ,White);
		ssd1306_SetCursor(73,40);
		ssd1306_WriteChar(buf, Font_6x8 , White);

		buf = (score%100)/10 + '0';
		ssd1306_SetCursor(80,40);
		ssd1306_WriteChar(buf, Font_6x8 , White);

		buf = (score%10) + '0';
		ssd1306_SetCursor(87,40);
		ssd1306_WriteChar(buf, Font_6x8 , White);
		HAL_Delay(350);
		ssd1306_UpdateScreen();

	}
	tedad=1;
	makan[0].x=0;
	makan[0].y=8;
	flg2.state =0;
	flg2.step =0;
	flg2.jahat=0;
	score=0;
	SNAKE();
}
void FRING (void){

		if(flg.nimsec){
			flg.nimsec = false;
			ssd1306_Fill(Black);

			painter__(30,20,"RING",Font_11x18);
			painter__(0,20,"R",Font_6x8);
			painter__(120,20,"A",Font_6x8);
			painter__(0,50,"B",Font_6x8);
			if(key_pad.adad == 10){
				HAL_UART_Transmit(&huart1,(uint8_t *)&"ATA",3,100);
				HAL_UART_Transmit(&huart1,(uint8_t*)&(UART.enter),1,800);
				HAL_UART_Transmit(&huart1,(uint8_t*)&(UART.cntlz),1,800);
				memset(UART.BUFF,0,sizeof(UART.BUFF));
				key_pad.adad =16;
			}
			else if(key_pad.adad == 11){
				HAL_UART_Transmit(&huart1,(uint8_t *)&"ATH",3,100);
				HAL_UART_Transmit(&huart1,(uint8_t*)&(UART.enter),1,800);
				HAL_UART_Transmit(&huart1,(uint8_t*)&(UART.cntlz),1,800);
				leyer = PREVIEW_L;
				memset(UART.BUFF,0,sizeof(UART.BUFF));
				key_pad.adad =16;
			}
			ssd1306_UpdateScreen();
}
}
void IRING (void){
	flg.ring = false;
	//HAL_UART_Transmit(&huart2,(uint8_t *)&UART.BUFF,sizeof(UART.BUFF),1000);
	//HAL_Delay(100);

	for(int i=0;i<=60;i++){

		if(UART.BUFF[i] == 'R' && UART.BUFF[i+1] == 'I' && UART.BUFF[i+2] == 'N' && UART.BUFF[i+3] == 'G'){
			HAL_GPIO_TogglePin(GPIOC,GPIO_PIN_13);
			memset(UART.BUFF,0,sizeof(UART.BUFF));
			leyer = RING;
			UART.counter = 0;
		}
		else if(UART.BUFF[i] == '+' && UART.BUFF[i+1] == 'C' && UART.BUFF[i+2] == 'M' && UART.BUFF[i+3] == 'T'){
			RING_SMS.number [0] = '0';

			for(int x=0;x<=7;x++){
				RING_SMS.tarikh[x] = UART.BUFF[i+26+x];
			}

			for(int x=1;x<=10;x++){
				RING_SMS.number[x] = UART.BUFF[i+x+9];
			}
			for(int x=0;x<=4;x++){
				RING_SMS.time[x] = UART.BUFF[i+x+35];
			}
			for(int x=0;UART.BUFF[i+x+49] !=0 ;x++){
				if(UART.BUFF[i+x+49] >= 32 && UART.BUFF[i+x+49] <= 126)
					RING_SMS.mohtava[x] = UART.BUFF[i+x+49];
			}

			//HAL_UART_Transmit(&huart1,(unsigned char*)&"AT+CNMI=1,2,0,0,0",17,100);
			leyer = R_SMS_L;
			RING_SMS.mohtava_counter =0;
//			memset(RING_SMS.mohtava,0,sizeof(RING_SMS.mohtava));
//			memset(RING_SMS.number,0,sizeof(RING_SMS.number));
//			memset(RING_SMS.tarikh,0,sizeof(RING_SMS.tarikh));
//			memset(RING_SMS.time,0,sizeof(RING_SMS.time));
		}
	}
}
void menu4 (void){
	if(flg.nimsec)
	{
		flg.nimsec = false;
		ssd1306_Fill(Black);
		clk_menu(CURRENT_TIME.MIN,CURRENT_TIME.HOUR,CURRENT_TIME.SECEND,ALARM.ALARMHOUR,ALARM.ALARMMIN,ALARM.ALARMSEC);
		painter__(0,50,"M",Font_6x8);
		painter__(120,50,"N",Font_6x8);
		painter__(40,20,"SMS",Font_11x18);
		ssd1306_UpdateScreen();
	}
	if(key_pad.adad == 10){
		key_pad.adad =16;
		leyer = F_SMS_L;
	}
}
void sms_ersal(char *bufer){
	strcat(SMSS.sarehambandi,bufer);
	strcat(SMSS.sarehambandi,"\"");
	strcat(SMSS.elhaq,SMSS.sarehambandi);
	HAL_UART_Transmit(&huart1,(uint8_t *)&"AT+CSMP=49,167,0,8",18,100);
	HAL_UART_Transmit(&huart1,(uint8_t*)&(UART.enter),1,800);

	HAL_Delay(50);
	HAL_UART_Transmit(&huart1,(uint8_t *)&"AT+CMGF=1",9,100);
	HAL_UART_Transmit(&huart1,(uint8_t*)&(UART.enter),1,800);
	HAL_Delay(50);

	HAL_UART_Transmit(&huart1,(uint8_t *)&SMSS.elhaq,21,100);
	HAL_UART_Transmit(&huart1,(uint8_t*)&(UART.enter),1,800);
	HAL_Delay(50);

	HAL_UART_Transmit(&huart1,(uint8_t *)&key_pad.negahdari,key_pad.negahdari_shomar,100);
	HAL_UART_Transmit(&huart1,(uint8_t*)&(UART.enter),1,800);
	HAL_Delay(50);

	HAL_UART_Transmit(&huart1,(uint8_t*)&(UART.cntlz),1,800);

	HAL_Delay(50);
	strcpy(SMSS.sarehambandi,"\"");
	strcpy(SMSS.elhaq,"AT+CMGS=");
}
void sms (void){
	if(flg.nimsec)
	{
		flg.nimsec = false;
		ssd1306_Fill(Black);
		clk_menu(CURRENT_TIME.MIN,CURRENT_TIME.HOUR,CURRENT_TIME.SECEND,ALARM.ALARMHOUR,ALARM.ALARMMIN,ALARM.ALARMSEC);
		painter__(0,50,"M",Font_6x8);
		painter__(0,20,"ENTER THE NUMBER",Font_6x8);
		if(key_pad.adad <= 9 && SMSS.i<=10){
			SMSS.CBUFF = yabesh(key_pad.adad,SMSS.i);
			SMSS.BUFF[SMSS.i] = SMSS.CBUFF;
			SMSS.i++;
			key_pad.adad = 16;
		}
		else if(key_pad.adad == 11){
			SMSS.i = 0;
		for(int i=0;i<=10;i++){
			SMSS.BUFF[i] = 0;
		}
			key_pad.adad = 16;
		}
		if(key_pad.adad == 15){
			SMSS.i--;
			SMSS.BUFF[SMSS.i] = 0;
			key_pad.adad =16;
		}
		if(key_pad.adad == 10 && SMSS.i == 11){
			leyer = NOTE_SMS_L;
			key_pad.adad =11;
		}
		painter__(0,35,SMSS.BUFF,Font_6x8);
		ssd1306_UpdateScreen();
	}
}
void note_sms(void){
	if(flg.keypad_tim == false){
		for(int i=0;i<=9;i++){
			if(key_pad.adad==i ){

				key_pad.counter[i]++;
				if(key_pad.counter[i] == 5){
					key_pad.counter[i] =1;
				}
			}else if(key_pad.adad!=i ){
				key_pad.counter[i] =0;
			}
		}
		if(flg.m){
			flg.m = false;
			key_pad.namayesh = Hrof(key_pad.counter);
		}
	}
	else if(flg.keypad_tim){
		flg.keypad_tim = false;
		for(int i=1;i<=9;i++){
			key_pad.counter[i]=0;
		}
	}
	if(key_pad.adad == 12){
		key_pad.negahdari[key_pad.negahdari_shomar] = key_pad.namayesh;
		key_pad.negahdari_shomar++;
		key_pad.adad = 16;
	}
	else if(key_pad.adad == 11){
		key_pad.adad = 16;
		key_pad.namayesh = NULL;
		for(int i=0;i<=59;i++){
			key_pad.negahdari[i] = NULL;
		}
		key_pad.negahdari_shomar=0;
	}
	else if(key_pad.adad == 15){
		key_pad.adad = 16;
		key_pad.namayesh = NULL;
		key_pad.negahdari[key_pad.negahdari_shomar-1]=NULL;
		key_pad.negahdari_shomar--;

	}
	else if(key_pad.adad == 10){
		key_pad.adad =16;
		sms_ersal(SMSS.BUFF);
		key_pad.namayesh = NULL;
		for(int i=0;i<=59;i++){
			key_pad.negahdari[i] = NULL;
		}
		key_pad.negahdari_shomar=0;
		HAL_GPIO_WritePin(GREN_LED_GPIO_Port,GREN_LED_Pin,GPIO_PIN_RESET);
		HAL_Delay(100);
		HAL_GPIO_WritePin(GREN_LED_GPIO_Port,GREN_LED_Pin,GPIO_PIN_SET);
	}
	if(flg.nimsec){
		flg.nimsec = false;
		ssd1306_Fill(Black);
		clk_menu(CURRENT_TIME.MIN,CURRENT_TIME.HOUR,CURRENT_TIME.SECEND,ALARM.ALARMHOUR,ALARM.ALARMMIN,ALARM.ALARMSEC);
		painter__(0,50,"M",Font_6x8);
		//painter__(120,50,"N",Font_6x8);
		ssd1306_SetCursor(120,0);
		ssd1306_WriteChar(key_pad.namayesh,Font_6x8,White);

		ssd1306_SetCursor(key_pad.set_x,key_pad.set_y);
		ssd1306_WriteString(key_pad.negahdari,Font_6x8,White);

		ssd1306_UpdateScreen();
	}
}
void my_ring (void){
	if(key_pad.adad == 11){
		HAL_UART_Transmit(&huart1,(uint8_t *)&"ATH",3,100);
		HAL_Delay(50);
		HAL_UART_Transmit(&huart1,(uint8_t*)&(UART.enter),1,800);
		leyer = MENU_L;
	}
	if(flg.nimsec){
		flg.nimsec=false;
		ssd1306_Fill(Black);
		clk_menu(CURRENT_TIME.MIN,CURRENT_TIME.HOUR,CURRENT_TIME.SECEND,ALARM.ALARMHOUR,ALARM.ALARMMIN,ALARM.ALARMSEC);
		painter__(0,20,"R",Font_6x8);
		painter__(40,20,CAL.BUFF,Font_6x8);

		ssd1306_UpdateScreen();
	}
}
void r_sms(void){
	if(flg.nimsec){
		flg.nimsec = false;
		ssd1306_Fill(Black);
		clk_menu(CURRENT_TIME.MIN,CURRENT_TIME.HOUR,CURRENT_TIME.SECEND,ALARM.ALARMHOUR,ALARM.ALARMMIN,ALARM.ALARMSEC);
		ssd1306_SetCursor(20,40);
		rasm_string_with_char(10,RING_SMS.number);

		ssd1306_SetCursor(75,0);
		ssd1306_WriteString(RING_SMS.tarikh,Font_6x8,White);

		painter__(90,50,RING_SMS.time,Font_6x8);
		painter__(0,30,RING_SMS.mohtava,Font_6x8);
		painter__(0,50,"B",Font_6x8);
		ssd1306_UpdateScreen();
	}
	if(key_pad.adad == 11){
			leyer = MENU_L;

		}
}
/* USER CODE END 4 */

void Error_Handler(void)
{
  __disable_irq();
  while (1)
  {
  }
}
